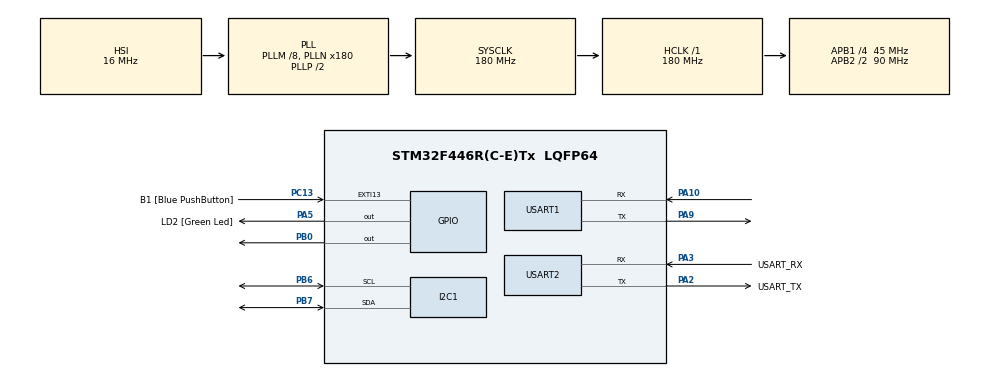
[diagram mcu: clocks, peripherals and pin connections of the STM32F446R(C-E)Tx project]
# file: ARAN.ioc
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Mcu.Family=STM32F4
Mcu.Name=STM32F446R(C-E)Tx
Mcu.Package=LQFP64
NVIC.PriorityGroup=NVIC_PRIORITYGROUP_0
NVIC.USART2_IRQn=true\:0\:0\:false\:false\:true\:true\:true\:true
PA10.Mode=Asynchronous
PA10.Signal=USART1_RX
PA13.GPIO_Label=TMS
PA13.Mode=Serial_Wire
PA13.Signal=SYS_JTMS-SWDIO
PA14.GPIO_Label=TCK
PA14.Mode=Serial_Wire
PA14.Signal=SYS_JTCK-SWCLK
PA2.GPIO_Label=USART_TX
PA2.Mode=Asynchronous
PA2.Signal=USART2_TX
PA3.GPIO_Label=USART_RX
PA3.Mode=Asynchronous
PA3.Signal=USART2_RX
PA5.GPIO_Label=LD2 [Green Led]
PA5.Signal=GPIO_Output
PA9.Mode=Asynchronous
PA9.Signal=USART1_TX
PB0.Signal=GPIO_Output
PB3.GPIO_Label=SWO
PB3.Signal=SYS_JTDO-SWO
PB6.Mode=I2C
PB6.Signal=I2C1_SCL
PB7.Mode=I2C
PB7.Signal=I2C1_SDA
PC13.GPIO_Label=B1 [Blue PushButton]
PC13.GPIO_ModeDefaultEXTI=GPIO_MODE_IT_FALLING
PC13.Signal=GPXTI13
PC14-OSC32_IN.Mode=LSE-External-Oscillator
PC14-OSC32_IN.Signal=RCC_OSC32_IN
PC15-OSC32_OUT.Mode=LSE-External-Oscillator
PC15-OSC32_OUT.Signal=RCC_OSC32_OUT
PH0-OSC_IN.Mode=HSE-External-Oscillator
PH0-OSC_IN.Signal=RCC_OSC_IN
PH1-OSC_OUT.Mode=HSE-External-Oscillator
PH1-OSC_OUT.Signal=RCC_OSC_OUT
ProjectManager.HeapSize=0x800
ProjectManager.StackSize=0x800
ProjectManager.TargetToolchain=STM32CubeIDE
RCC.48MHZClocksFreq_Value=84000000
RCC.AHBFreq_Value=180000000
RCC.APB1CLKDivider=RCC_HCLK_DIV4
RCC.APB1Freq_Value=45000000
RCC.APB1TimFreq_Value=90000000
RCC.APB2CLKDivider=RCC_HCLK_DIV2
RCC.APB2Freq_Value=90000000
RCC.APB2TimFreq_Value=180000000
RCC.CortexFreq_Value=180000000
RCC.FLatency-AdvancedSettings=FLASH_LATENCY_5
RCC.HCLKFreq_Value=180000000
RCC.HSE_VALUE=8000000
RCC.HSI_VALUE=16000000
RCC.PLLM=8
RCC.PLLN=180
RCC.PLLP=2
RCC.SYSCLKFreq_VALUE=180000000
RCC.SYSCLKSource=RCC_SYSCLKSOURCE_PLLCLK
RCC.USBFreq_Value=180000000
RCC.VCOOutputFreq_Value=360000000
STMicroelectronics.X-CUBE-AI.10.2.1.ActivationBufferSizeList=16460
STMicroelectronics.X-CUBE-AI.10.2.1.ActivationBuffers=pool0
STMicroelectronics.X-CUBE-AI.10.2.1.ActivationNames=pool0
STMicroelectronics.X-CUBE-AI.10.2.1.ActivationSizes=AI_NETWORK_DATA_ACTIVATION_1_SIZE
STMicroelectronics.X-CUBE-AI.10.2.1.HeapSize=0x800
STMicroelectronics.X-CUBE-AI.10.2.1.InternalRamActivationBufferMaxSize=AI_NETWORK_DATA_ACTIVATIONS_SIZE
STMicroelectronics.X-CUBE-AI.10.2.1.LatestDirectoryUsed-9626e8458a3e65b694b20ee684ab85f9c4cc34ff924aef1cdce73eea8011bb57=D\:\\TI27_Model
STMicroelectronics.X-CUBE-AI.10.2.1.MaximumNumberOfInputLayer=1
STMicroelectronics.X-CUBE-AI.10.2.1.MaximumNumberOfOutputLayer=1
STMicroelectronics.X-CUBE-AI.10.2.1.MaximumSizeOfInputLayer=1
STMicroelectronics.X-CUBE-AI.10.2.1.MaximumSizeOfOutputLayer=1
STMicroelectronics.X-CUBE-AI.10.2.1.ModelActualCompression-9626e8458a3e65b694b20ee684ab85f9c4cc34ff924aef1cdce73eea8011bb57=0.0
STMicroelectronics.X-CUBE-AI.10.2.1.ModelCompression-9626e8458a3e65b694b20ee684ab85f9c4cc34ff924aef1cdce73eea8011bb57=None
STMicroelectronics.X-CUBE-AI.10.2.1.ModelFlashOccupation-9626e8458a3e65b694b20ee684ab85f9c4cc34ff924aef1cdce73eea8011bb57=35575
STMicroelectronics.X-CUBE-AI.10.2.1.ModelHashList=9626e8458a3e65b694b20ee684ab85f9c4cc34ff924aef1cdce73eea8011bb57
STMicroelectronics.X-CUBE-AI.10.2.1.ModelKind-9626e8458a3e65b694b20ee684ab85f9c4cc34ff924aef1cdce73eea8011bb57=TFLITE
STMicroelectronics.X-CUBE-AI.10.2.1.ModelMacc-9626e8458a3e65b694b20ee684ab85f9c4cc34ff924aef1cdce73eea8011bb57=552962
STMicroelectronics.X-CUBE-AI.10.2.1.ModelName-9626e8458a3e65b694b20ee684ab85f9c4cc34ff924aef1cdce73eea8011bb57=network
STMicroelectronics.X-CUBE-AI.10.2.1.ModelNameList=network
STMicroelectronics.X-CUBE-AI.10.2.1.ModelRamOccupation-9626e8458a3e65b694b20ee684ab85f9c4cc34ff924aef1cdce73eea8011bb57=16460
STMicroelectronics.X-CUBE-AI.10.2.1.ModelStructureFile-9626e8458a3e65b694b20ee684ab85f9c4cc34ff924aef1cdce73eea8011bb57=D\:\\TI27_Model\\sleepy_model_int8.tflite
STMicroelectronics.X-CUBE-AI.10.2.1.ModelType-9626e8458a3e65b694b20ee684ab85f9c4cc34ff924aef1cdce73eea8011bb57=STM32Cube.AI MCU runtime
STMicroelectronics.X-CUBE-AI.10.2.1.ReadyForCodeGeneration=true
STMicroelectronics.X-CUBE-AI.10.2.1.StackSize=0x800
STMicroelectronics.X-CUBE-AI.10.2.1.WorkingBufferStartAddrList=0xFFFFFFFF
STMicroelectronics.X-CUBE-AI.10.2.1.XAaCUBEAaAICcArtificialOoIntelligenceJjCore=true
STMicroelectronics.X-CUBE-AI.10.2.1.copyWeightToRam=false
STMicroelectronics.X-CUBE-AI.10.2.1.copyWeightToRam-9626e8458a3e65b694b20ee684ab85f9c4cc34ff924aef1cdce73eea8011bb57=false
STMicroelectronics.X-CUBE-AI.10.2.1.customLayerConfigEnabled=false
STMicroelectronics.X-CUBE-AI.10.2.1.customLayerConfigEnabled-9626e8458a3e65b694b20ee684ab85f9c4cc34ff924aef1cdce73eea8011bb57=false
STMicroelectronics.X-CUBE-AI.10.2.1.noOnnxIoTranspose=false
STMicroelectronics.X-CUBE-AI.10.2.1.noOnnxIoTranspose-9626e8458a3e65b694b20ee684ab85f9c4cc34ff924aef1cdce73eea8011bb57=false
STMicroelectronics.X-CUBE-AI.10.2.1.useInputAllocation=true
STMicroelectronics.X-CUBE-AI.10.2.1.useInputAllocation-9626e8458a3e65b694b20ee684ab85f9c4cc34ff924aef1cdce73eea8011bb57=true
STMicroelectronics.X-CUBE-AI.10.2.1.useOutputAllocation=true
STMicroelectronics.X-CUBE-AI.10.2.1.useOutputAllocation-9626e8458a3e65b694b20ee684ab85f9c4cc34ff924aef1cdce73eea8011bb57=true
USART1.VirtualMode=VM_ASYNC
USART2.VirtualMode=VM_ASYNC
VP_CRC_VS_CRC.Mode=CRC_Activate
VP_STMicroelectronics.X-CUBE-AI_VS_ArtificialOoIntelligenceJjXAaCUBEAaAI_10.2.1.Mode=ArtificialOoIntelligenceJjXAaCUBEAaAI
VP_TIM14_VS_ClockSourceINT.Mode=Enable_Timer
board=NUCLEO-F446RE

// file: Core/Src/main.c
/* USER CODE BEGIN Header */
/**
 ******************************************************************************
 * @file    main.c
 * @brief   ARAN – Milestones 1 + 2 + 3 + 4 + 5 + 6 super-loop.
 *
 * Milestone 6 adds:
 *   - OLED_UpdateDisplay() : live 4-line SSD1306 display (I2C1, PB6/PB7)
 *   - BT_SendAlert()       : structured packet over USART1 → ESP32 → BT SPP
 *   - BUZZER_Alert()       : GPIO PB0 beep patterns keyed to DSI zone
 *
 * Communication architecture (Milestone 6 revised):
 *   USART2 (ST-Link VCP)  → ECG replay reception (unchanged, interrupt-driven)
 *   USART1 (PA9/PA10)     → ESP32 UART2 bridge (replaces FTDI visualisation)
 *   I2C1   (PB6/PB7)      → SSD1306 OLED
 *   PB0    (GPIO_OUTPUT)  → Buzzer
 *
 * NOTE: The Python ARAN dashboard (aran_dashboard_m6.py) now connects to the
 * ESP32's Bluetooth SPP port rather than an FTDI COM port. The STM32 raw/
 * filtered/HRV/CNN/fusion data is forwarded by the ESP32 over BT after the
 * "BT," packet; all other "S," and "R,"/"F," lines are passed through by the
 * ESP32 unchanged so the dashboard parses them identically to previous
 * milestones.
 ******************************************************************************
 */
/* USER CODE END Header */

#include "main.h"

/* USER CODE BEGIN Includes */
#include "ecg_uart.h"
#include "window_manager.h"
#include "dsp_preprocessing.h"
#include "pan_tompkins.h"
#include "hrv.h"
#include "cnn.h"
#include "fusion.h"
#include "oled.h"   /* Milestone 6: SSD1306 OLED     */
#include "bluetooth.h"      /* Milestone 6: ESP32 BT bridge  */
#include "buzzer.h"         /* Milestone 6: buzzer patterns  */
#include <stdio.h>
/* USER CODE END Includes */

CRC_HandleTypeDef hcrc;

I2C_HandleTypeDef hi2c1;

TIM_HandleTypeDef htim14;

UART_HandleTypeDef huart1;
UART_HandleTypeDef huart2;

/* USER CODE BEGIN PV */
static EcgWindow_t     s_current_window;
static float32_t       s_filtered_window[WINDOW_SIZE];
static PT_Result_t     s_pt_result;
static HRV_t           s_hrv;
static CNN_Result_t    s_cnn_result;
static Fusion_Result_t s_fusion_result;
/* USER CODE END PV */

void SystemClock_Config(void);
static void MX_GPIO_Init(void);
static void MX_USART2_UART_Init(void);
static void MX_TIM14_Init(void);
static void MX_CRC_Init(void);
static void MX_I2C1_Init(void);
static void MX_USART1_UART_Init(void);

int main(void)
{

  /* MCU Configuration--------------------------------------------------------*/

  /* Reset of all peripherals, Initialises the Flash interface and the Systick. */
  HAL_Init();

  /* Configure the system clock */
  SystemClock_Config();

  /* Initialize all configured peripherals */
  MX_GPIO_Init();
  MX_USART2_UART_Init();
  MX_TIM14_Init();
  MX_CRC_Init();
  MX_I2C1_Init();
  MX_USART1_UART_Init();

  /* USER CODE BEGIN 2 */

  /* ---- Milestone 1: ECG UART + Window Manager ---- */
  WM_Init(&s_current_window);

  /* Single-UART mode: ECG reception and ECG status share USART2 (ST-Link VCP).
   * USART1 is now exclusively used for the ESP32 Bluetooth bridge.           */
  ECG_UART_Init(&huart2, &huart2);

  /* ---- Milestone 2: DSP ---- */
  DSP_Init();

  /* ---- Milestone 3: Pan-Tompkins ---- */
  PT_Init();

  /* ---- Milestone 4: CNN (X-CUBE-AI) ---- */
  if (!CNN_Init())
  {
      char err_msg[48];
      snprintf(err_msg, sizeof(err_msg), "CNN_INIT_FAIL,0x%08lX",
               (unsigned long)CNN_GetLastError());
      ECG_UART_SendStatus(err_msg);
      Error_Handler();
  }

  /* ---- Milestone 6: OLED, Bluetooth bridge, Buzzer ---- */
  if (OLED_Init(&hi2c1) != HAL_OK)
  {
      ECG_UART_SendStatus("WARN: OLED init failed – display disabled");
      /* Non-fatal: continue without display */
  }

  BT_Init(&huart1);       /* USART1 → ESP32 UART2 */
  BUZZER_Init();

  /* Ready banner on OLED */
  OLED_Clear();
  OLED_DrawString(0, 0, "ARAN M6");
  OLED_DrawString(2, 0, "Initialising...");
  OLED_Flush();

  /* ---- Start windowing ---- */
  WM_Reset(&s_current_window);
  ECG_UART_SendStatus("ARAN Milestone 6 ready - OLED + BT + Buzzer active");

  /* USER CODE END 2 */

  /* Infinite loop */
  /* USER CODE BEGIN WHILE */
  while (1)
  {
      /* Drain the circular buffer into the active window.
       * Reception keeps running via interrupt in parallel.          */
      bool window_ready = WM_Update(ECG_UART_GetBuffer(), &s_current_window);

      if (window_ready)
      {
          /* ── Status ── */
          char msg[64];
          snprintf(msg, sizeof(msg), "Window %lu READY (2500 samples)",
                   (unsigned long)s_current_window.window_id);
          ECG_UART_SendStatus(msg);

          /* ── Milestone 2: DSP preprocessing ── */
          DSP_Preprocess(s_current_window.data, s_filtered_window);

          /* ── Milestone 3a: Pan-Tompkins R-peak detection ── */
          PT_Detect(s_filtered_window, &s_pt_result);

          snprintf(msg, sizeof(msg), "Peaks detected: %lu",
                   (unsigned long)s_pt_result.peak_count);
          ECG_UART_SendStatus(msg);

          /* ── Milestone 3b: HRV feature extraction ── */
          HRV_Compute(&s_pt_result, &s_hrv);

          /* ── Milestone 4: CNN inference ── */
          CNN_Run(s_filtered_window, &s_cnn_result);

          /* ── Milestone 5: Decision Fusion + Driver Safety Index ── */
          Fusion_Compute(&s_hrv, &s_cnn_result, &s_fusion_result);

          /* ══════════════════════════════════════════════════════════
           *  Milestone 6: User Interface & Alert System
           * ══════════════════════════════════════════════════════════ */

          /* 6-a: OLED – refresh all four status lines */
          OLED_UpdateDisplay(&s_hrv, &s_cnn_result, &s_fusion_result);

          /* 6-b: Bluetooth – send structured alert packet to ESP32 */
          BT_SendAlert(&s_fusion_result, &s_hrv, &s_cnn_result);

          /* 6-c: Buzzer – pattern according to DSI zone             */
          BUZZER_Alert(s_fusion_result.zone);

          /* ══════════════════════════════════════════════════════════
           *  UART reporting (dashboard / debug via ESP32 BT pass-through)
           * ══════════════════════════════════════════════════════════ */

          /* NOTE: In Milestone 6, USART1 is the ESP32 bridge channel.
           * All "R,","F,","S," telemetry is still sent via ECG_UART
           * which uses USART2 (ST-Link VCP) in single-UART mode, OR
           * you may re-route ECG_UART to USART1 if the ESP32 firmware
           * is updated to forward all lines over BT (see aran_dashboard_m6.py). */

          /* 1. Forward raw + filtered samples */
          for (uint32_t i = 0U; i < WINDOW_SIZE; i++)
          {
              ECG_UART_SendRawSample(s_current_window.window_id, i,
                                      s_current_window.data[i]);
              ECG_UART_SendFilteredSample(s_current_window.window_id, i,
                                           s_filtered_window[i]);
          }

          /* 2. R-peak indices and RR intervals */
          HRV_SendPeaksAndIntervals(s_current_window.window_id, &s_pt_result);

          /* 3. HRV feature vector */
          HRV_SendUART(s_current_window.window_id, &s_hrv);

          /* 4. CNN fatigue probability + timing */
          CNN_SendUART(s_current_window.window_id, &s_cnn_result);

          /* 5. Decision Fusion result (DSI + zone) */
          Fusion_SendUART(s_current_window.window_id, &s_fusion_result);

          /* Prepare for the next 10-second window */
          WM_Reset(&s_current_window);
      }

      if (ECG_UART_HasError())
      {
          ECG_UART_SendStatus("WARNING: UART error or buffer overflow detected");
      }
  }
  /* USER CODE END WHILE */

}

void SystemClock_Config(void)
{
  RCC_OscInitTypeDef RCC_OscInitStruct = {0};
  RCC_ClkInitTypeDef RCC_ClkInitStruct = {0};

  __HAL_RCC_PWR_CLK_ENABLE();
  __HAL_PWR_VOLTAGESCALING_CONFIG(PWR_REGULATOR_VOLTAGE_SCALE1);

  RCC_OscInitStruct.OscillatorType      = RCC_OSCILLATORTYPE_HSI;
  RCC_OscInitStruct.HSIState            = RCC_HSI_ON;
  RCC_OscInitStruct.HSICalibrationValue = RCC_HSICALIBRATION_DEFAULT;
  RCC_OscInitStruct.PLL.PLLState        = RCC_PLL_ON;
  RCC_OscInitStruct.PLL.PLLSource       = RCC_PLLSOURCE_HSI;
  RCC_OscInitStruct.PLL.PLLM            = 8;
  RCC_OscInitStruct.PLL.PLLN            = 180;
  RCC_OscInitStruct.PLL.PLLP            = 2;
  RCC_OscInitStruct.PLL.PLLQ            = 2;
  RCC_OscInitStruct.PLL.PLLR            = 2;
  if (HAL_RCC_OscConfig(&RCC_OscInitStruct) != HAL_OK) { Error_Handler(); }

  if (HAL_PWREx_EnableOverDrive() != HAL_OK) { Error_Handler(); }

  RCC_ClkInitStruct.ClockType      = RCC_CLOCKTYPE_HCLK  | RCC_CLOCKTYPE_SYSCLK
                                   | RCC_CLOCKTYPE_PCLK1 | RCC_CLOCKTYPE_PCLK2;
  RCC_ClkInitStruct.SYSCLKSource   = RCC_SYSCLKSOURCE_PLLCLK;
  RCC_ClkInitStruct.AHBCLKDivider  = RCC_SYSCLK_DIV1;
  RCC_ClkInitStruct.APB1CLKDivider = RCC_HCLK_DIV4;
  RCC_ClkInitStruct.APB2CLKDivider = RCC_HCLK_DIV2;
  if (HAL_RCC_ClockConfig(&RCC_ClkInitStruct, FLASH_LATENCY_5) != HAL_OK) { Error_Handler(); }
}

static void MX_CRC_Init(void)
{
  hcrc.Instance = CRC;
  if (HAL_CRC_Init(&hcrc) != HAL_OK) { Error_Handler(); }
}

static void MX_I2C1_Init(void)
{
  hi2c1.Instance             = I2C1;
  hi2c1.Init.ClockSpeed      = 100000;
  hi2c1.Init.DutyCycle       = I2C_DUTYCYCLE_2;
  hi2c1.Init.OwnAddress1     = 0;
  hi2c1.Init.AddressingMode  = I2C_ADDRESSINGMODE_7BIT;
  hi2c1.Init.DualAddressMode = I2C_DUALADDRESS_DISABLE;
  hi2c1.Init.OwnAddress2     = 0;
  hi2c1.Init.GeneralCallMode = I2C_GENERALCALL_DISABLE;
  hi2c1.Init.NoStretchMode   = I2C_NOSTRETCH_DISABLE;
  if (HAL_I2C_Init(&hi2c1) != HAL_OK) { Error_Handler(); }
}

static void MX_TIM14_Init(void)
{
  htim14.Instance                = TIM14;
  htim14.Init.Prescaler          = 0;
  htim14.Init.CounterMode        = TIM_COUNTERMODE_UP;
  htim14.Init.Period             = 65535;
  htim14.Init.ClockDivision      = TIM_CLOCKDIVISION_DIV1;
  htim14.Init.AutoReloadPreload  = TIM_AUTORELOAD_PRELOAD_DISABLE;
  if (HAL_TIM_Base_Init(&htim14) != HAL_OK) { Error_Handler(); }
}

static void MX_USART1_UART_Init(void)
{
  huart1.Instance          = USART1;
  huart1.Init.BaudRate     = 115200;
  huart1.Init.WordLength   = UART_WORDLENGTH_8B;
  huart1.Init.StopBits     = UART_STOPBITS_1;
  huart1.Init.Parity       = UART_PARITY_NONE;
  huart1.Init.Mode         = UART_MODE_TX_RX;
  huart1.Init.HwFlowCtl    = UART_HWCONTROL_NONE;
  huart1.Init.OverSampling = UART_OVERSAMPLING_16;
  if (HAL_UART_Init(&huart1) != HAL_OK) { Error_Handler(); }
}

static void MX_USART2_UART_Init(void)
{
  huart2.Instance          = USART2;
  huart2.Init.BaudRate     = 115200;
  huart2.Init.WordLength   = UART_WORDLENGTH_8B;
  huart2.Init.StopBits     = UART_STOPBITS_1;
  huart2.Init.Parity       = UART_PARITY_NONE;
  huart2.Init.Mode         = UART_MODE_TX_RX;
  huart2.Init.HwFlowCtl    = UART_HWCONTROL_NONE;
  huart2.Init.OverSampling = UART_OVERSAMPLING_16;
  if (HAL_UART_Init(&huart2) != HAL_OK) { Error_Handler(); }
}

static void MX_GPIO_Init(void)
{
  GPIO_InitTypeDef GPIO_InitStruct = {0};

  /* GPIO Ports Clock Enable */
  __HAL_RCC_GPIOC_CLK_ENABLE();
  __HAL_RCC_GPIOH_CLK_ENABLE();
  __HAL_RCC_GPIOA_CLK_ENABLE();
  __HAL_RCC_GPIOB_CLK_ENABLE();

  /* Default output levels */
  HAL_GPIO_WritePin(LD2_GPIO_Port, LD2_Pin, GPIO_PIN_RESET);
  HAL_GPIO_WritePin(GPIOB, GPIO_PIN_0, GPIO_PIN_RESET);   /* Buzzer OFF */

  /* B1 user button (PC13) – falling edge, no pull */
  GPIO_InitStruct.Pin  = B1_Pin;
  GPIO_InitStruct.Mode = GPIO_MODE_IT_FALLING;
  GPIO_InitStruct.Pull = GPIO_NOPULL;
  HAL_GPIO_Init(B1_GPIO_Port, &GPIO_InitStruct);

  /* LD2 status LED (PA5) */
  GPIO_InitStruct.Pin   = LD2_Pin;
  GPIO_InitStruct.Mode  = GPIO_MODE_OUTPUT_PP;
  GPIO_InitStruct.Pull  = GPIO_NOPULL;
  GPIO_InitStruct.Speed = GPIO_SPEED_FREQ_LOW;
  HAL_GPIO_Init(LD2_GPIO_Port, &GPIO_InitStruct);

  /* PB0 – Buzzer (push-pull, low speed) */
  GPIO_InitStruct.Pin   = GPIO_PIN_0;
  GPIO_InitStruct.Mode  = GPIO_MODE_OUTPUT_PP;
  GPIO_InitStruct.Pull  = GPIO_NOPULL;
  GPIO_InitStruct.Speed = GPIO_SPEED_FREQ_LOW;
  HAL_GPIO_Init(GPIOB, &GPIO_InitStruct);
}

/* USER CODE BEGIN 4 */
/* ---------------------------------------------------------------------- */
/* HAL callback – dispatch USART2 byte-received interrupts to the driver  */
/* ---------------------------------------------------------------------- */
void HAL_UART_RxCpltCallback(UART_HandleTypeDef *huart)
{
    ECG_UART_RxCallback(huart);
}
/* USER CODE END 4 */

/**
  * @brief  Error handler – buzzer off, halt.
  */
void Error_Handler(void)
{
  /* USER CODE BEGIN Error_Handler_Debug */
  BUZZER_Off();
  __disable_irq();
  while (1) {}
  /* USER CODE END Error_Handler_Debug */
}
